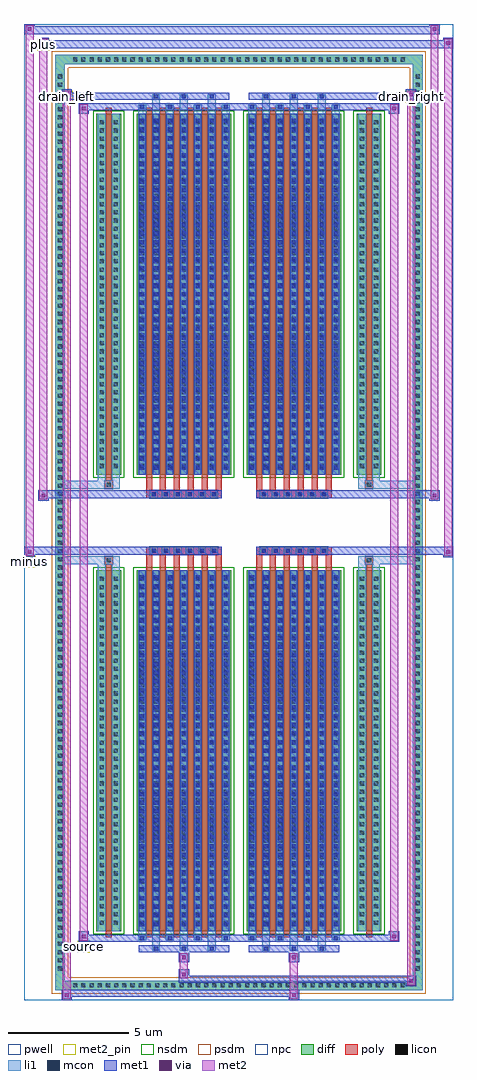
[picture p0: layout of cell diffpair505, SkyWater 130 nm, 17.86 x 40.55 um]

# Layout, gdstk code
import gdstk
lib = gdstk.Library(unit=1e-6, precision=5e-09)
def R(c, l, rs):  # rectangles x0, y0, x1, y1
    for r in rs: c.add(gdstk.rectangle(r[:2], r[2:], *l))
def A(c, l, x, y, w, h, nx, ny, dx, dy):  # array of equal rectangles
    R(c, l, [(x+i*dx, y+j*dy, x+i*dx+w, y+j*dy+h) for i in range(nx) for j in range(ny)])
def P(c, l, *ps):  # polygons
    for p in ps: c.add(gdstk.Polygon(p, *l))
pwell = (64, 44)
diff = (65, 20)
poly = (66, 20)
licon = (66, 44)
li1 = (67, 20)
mcon = (67, 44)
met1 = (68, 20)
via = (68, 44)
met2_pin = (69, 16)
met2 = (69, 20)
nsdm = (93, 44)
psdm = (94, 20)
npc = (95, 20)

diffpair505 = lib.new_cell('diffpair505')
R(diffpair505, pwell, [(-8.91,-19.84,8.91,20.71), (-6.23,-18.03,-0.01,-0.805), (0.01,-18.03,6.23,-0.805), (-6.23,0.805,-0.01,18.03), (0.01,0.805,6.23,18.03)])
A(diffpair505, diff, -7.005, -19.44, 0.41, 0.41, 41, 2, 0.34, 38.47)
A(diffpair505, diff, -7.64, -18.735, 0.41, 0.41, 1, 110, 0, 0.34)
A(diffpair505, diff, 7.23, -18.735, 0.41, 0.41, 1, 110, 0, 0.34)
R(diffpair505, diff, [(-7.005,-19.44,7.005,-19.03), (-7.64,-18.735,-7.23,18.735), (7.23,-18.735,7.64,18.735), (-5.92,-16.985,-4.89,-1.985), (-4.25,-16.985,-0.32,-1.985), (0.32,-16.985,4.25,-1.985), (4.89,-16.985,5.92,-1.985), (-5.92,1.985,-4.89,16.985), (-4.25,1.985,-0.32,16.985), (0.32,1.985,4.25,16.985), (4.89,1.985,5.92,16.985), (-7.005,19.03,7.005,19.44)])
P(diffpair505, diff, [(7.64,19.44),(-7.64,19.44),(-7.64,-19.03),(-7.23,-19.03),(-7.23,19.03),(7.23,19.03),(7.23,-19.03),(-7.23,-19.03),(-7.64,-19.03),(-7.64,-19.44),(7.64,-19.44)])
A(diffpair505, poly, -3.86, -17.235, 0.25, 15.5, 6, 2, 0.58, 18.97)
A(diffpair505, poly, 0.71, -17.235, 0.25, 15.5, 6, 2, 0.58, 18.97)
A(diffpair505, poly, -3.86, -1.735, 0.25, 0.4, 6, 2, 0.58, 3.07)
A(diffpair505, poly, 0.71, -1.735, 0.25, 0.4, 6, 2, 0.58, 3.07)
A(diffpair505, poly, -3.7, -1.335, 0.33, 0.33, 6, 2, 0.5, 2.34)
A(diffpair505, poly, 0.87, -1.335, 0.33, 0.33, 6, 2, 0.5, 2.34)
R(diffpair505, poly, [(-5.53,-17.235,-5.28,-1.735), (5.28,-17.235,5.53,-1.735), (-5.57,-1.735,-5.24,-1.405), (-5.57,-1.735,-5.24,-1.405), (5.24,-1.735,5.57,-1.405), (5.24,-1.735,5.57,-1.405), (-3.86,-1.335,-0.71,-1.005), (0.71,-1.335,3.86,-1.005), (-3.86,1.005,-0.71,1.335), (0.71,1.005,3.86,1.335), (-5.57,1.405,-5.24,1.735), (-5.57,1.405,-5.24,1.735), (5.24,1.405,5.57,1.735), (5.24,1.405,5.57,1.735), (-5.53,1.735,-5.28,17.235), (5.28,1.735,5.53,17.235)])
A(diffpair505, licon, -6.885, -19.32, 0.17, 0.17, 41, 2, 0.34, 38.47)
A(diffpair505, licon, -7.52, -18.615, 0.17, 0.17, 1, 110, 0, 0.34)
A(diffpair505, licon, 7.35, -18.615, 0.17, 0.17, 1, 110, 0, 0.34)
A(diffpair505, licon, -5.78, -16.71, 0.17, 0.17, 1, 43, 0, 0.34)
A(diffpair505, licon, -5.2, -16.71, 0.17, 0.17, 1, 43, 0, 0.34)
A(diffpair505, licon, -4.11, -16.71, 0.17, 0.17, 7, 43, 0.58, 0.34)
A(diffpair505, licon, 0.46, -16.71, 0.17, 0.17, 7, 43, 0.58, 0.34)
A(diffpair505, licon, 5.03, -16.71, 0.17, 0.17, 1, 43, 0, 0.34)
A(diffpair505, licon, 5.61, -16.71, 0.17, 0.17, 1, 43, 0, 0.34)
A(diffpair505, licon, -3.62, -1.255, 0.17, 0.17, 6, 2, 0.5, 2.34)
A(diffpair505, licon, 0.95, -1.255, 0.17, 0.17, 6, 2, 0.5, 2.34)
A(diffpair505, licon, -5.78, 2.26, 0.17, 0.17, 1, 43, 0, 0.34)
A(diffpair505, licon, -5.2, 2.26, 0.17, 0.17, 1, 43, 0, 0.34)
A(diffpair505, licon, -4.11, 2.26, 0.17, 0.17, 7, 43, 0.58, 0.34)
A(diffpair505, licon, 0.46, 2.26, 0.17, 0.17, 7, 43, 0.58, 0.34)
A(diffpair505, licon, 5.03, 2.26, 0.17, 0.17, 1, 43, 0, 0.34)
A(diffpair505, licon, 5.61, 2.26, 0.17, 0.17, 1, 43, 0, 0.34)
R(diffpair505, licon, [(-5.49,-1.655,-5.32,-1.485), (5.32,-1.655,5.49,-1.485), (-5.49,1.485,-5.32,1.655), (5.32,1.485,5.49,1.655)])
A(diffpair505, li1, -6.965, -19.4, 0.33, 0.33, 41, 2, 0.34, 38.47)
A(diffpair505, li1, -7.6, -18.695, 0.33, 0.33, 1, 110, 0, 0.34)
A(diffpair505, li1, 7.27, -18.695, 0.33, 0.33, 1, 110, 0, 0.34)
A(diffpair505, li1, -3.61, -17.79, 0.33, 0.805, 3, 2, 1.16, 34.775)
A(diffpair505, li1, -3.53, -17.79, 0.17, 0.17, 3, 2, 1.16, 35.41)
A(diffpair505, li1, 0.96, -17.79, 0.33, 0.805, 3, 2, 1.16, 34.775)
A(diffpair505, li1, 1.04, -17.79, 0.17, 0.17, 3, 2, 1.16, 35.41)
A(diffpair505, li1, -4.19, -17.36, 0.33, 0.375, 4, 2, 1.16, 34.345)
A(diffpair505, li1, -4.11, -17.36, 0.17, 0.17, 4, 2, 1.16, 34.55)
A(diffpair505, li1, 0.38, -17.36, 0.33, 0.375, 4, 2, 1.16, 34.345)
A(diffpair505, li1, 0.46, -17.36, 0.17, 0.17, 4, 2, 1.16, 34.55)
A(diffpair505, li1, -4.19, -16.985, 0.33, 15, 7, 2, 0.58, 18.97)
A(diffpair505, li1, 0.38, -16.985, 0.33, 15, 7, 2, 0.58, 18.97)
A(diffpair505, li1, -5.86, -16.79, 0.33, 0.33, 1, 43, 0, 0.34)
A(diffpair505, li1, -5.28, -16.79, 0.33, 0.33, 1, 43, 0, 0.34)
A(diffpair505, li1, -4.19, -16.79, 0.33, 0.33, 7, 43, 0.58, 0.34)
A(diffpair505, li1, 0.38, -16.79, 0.33, 0.33, 7, 43, 0.58, 0.34)
A(diffpair505, li1, 4.95, -16.79, 0.33, 0.33, 1, 43, 0, 0.34)
A(diffpair505, li1, 5.53, -16.79, 0.33, 0.33, 1, 43, 0, 0.34)
A(diffpair505, li1, -4.11, -16.77, 0.17, 0.17, 7, 41, 0.58, 0.36)
A(diffpair505, li1, -4.11, -16.77, 0.17, 14.57, 7, 2, 0.58, 18.97)
A(diffpair505, li1, 0.46, -16.77, 0.17, 0.17, 7, 41, 0.58, 0.36)
A(diffpair505, li1, 0.46, -16.77, 0.17, 14.57, 7, 2, 0.58, 18.97)
A(diffpair505, li1, -3.7, -1.335, 0.33, 0.33, 6, 2, 0.5, 2.34)
A(diffpair505, li1, 0.87, -1.335, 0.33, 0.33, 6, 2, 0.5, 2.34)
A(diffpair505, li1, -5.86, 2.18, 0.33, 0.33, 1, 43, 0, 0.34)
A(diffpair505, li1, -5.28, 2.18, 0.33, 0.33, 1, 43, 0, 0.34)
A(diffpair505, li1, -4.19, 2.18, 0.33, 0.33, 7, 43, 0.58, 0.34)
A(diffpair505, li1, 0.38, 2.18, 0.33, 0.33, 7, 43, 0.58, 0.34)
A(diffpair505, li1, 4.95, 2.18, 0.33, 0.33, 1, 43, 0, 0.34)
A(diffpair505, li1, 5.53, 2.18, 0.33, 0.33, 1, 43, 0, 0.34)
A(diffpair505, li1, -4.11, 2.2, 0.17, 0.17, 7, 41, 0.58, 0.36)
A(diffpair505, li1, 0.46, 2.2, 0.17, 0.17, 7, 41, 0.58, 0.36)
R(diffpair505, li1, [(-7.64,-19.44,-7.23,-19.03), (-7.64,-19.44,-7.23,-19.03), (-7.23,-19.44,7.23,-19.03), (7.23,-19.44,7.64,-19.03), (7.23,-19.44,7.64,-19.03), (-7.64,-19.03,-7.23,19.03), (7.23,-19.03,7.64,19.03), (-5.86,-16.985,-5.53,-1.985), (-5.28,-16.985,-4.95,-1.985), (4.95,-16.985,5.28,-1.985), (5.53,-16.985,5.86,-1.985), (-5.86,-1.985,-5.53,-1.405), (-5.28,-1.985,-4.95,-1.405), (4.95,-1.985,5.28,-1.405), (5.53,-1.985,5.86,-1.405), (-7.64,-1.735,-5.57,-1.405), (-5.86,-1.735,-5.57,-1.405), (-5.57,-1.735,-5.24,-1.405), (-5.24,-1.735,-4.95,-1.405), (4.95,-1.735,5.24,-1.405), (5.24,-1.735,5.57,-1.405), (5.24,-1.735,7.64,-1.405), (5.57,-1.735,5.86,-1.405), (-7.64,1.405,-5.57,1.735), (-5.86,1.405,-5.57,1.735), (-5.86,1.405,-5.53,1.985), (-5.57,1.405,-5.24,1.735), (-5.28,1.405,-4.95,1.985), (-5.24,1.405,-4.95,1.735), (4.95,1.405,5.24,1.735), (4.95,1.405,5.28,1.985), (5.24,1.405,5.57,1.735), (5.24,1.405,7.64,1.735), (5.53,1.405,5.86,1.985), (5.57,1.405,5.86,1.735), (-5.86,1.985,-5.53,16.985), (-5.28,1.985,-4.95,16.985), (4.95,1.985,5.28,16.985), (5.53,1.985,5.86,16.985), (-7.64,19.03,-7.23,19.44), (-7.64,19.03,-7.23,19.44), (-7.23,19.03,7.23,19.44), (7.23,19.03,7.64,19.44), (7.23,19.03,7.64,19.44)])
A(diffpair505, mcon, -3.53, -17.79, 0.17, 0.17, 3, 2, 1.16, 35.41)
A(diffpair505, mcon, 1.04, -17.79, 0.17, 0.17, 3, 2, 1.16, 35.41)
A(diffpair505, mcon, -4.11, -17.36, 0.17, 0.17, 4, 2, 1.16, 34.55)
A(diffpair505, mcon, 0.46, -17.36, 0.17, 0.17, 4, 2, 1.16, 34.55)
A(diffpair505, mcon, -4.11, -16.77, 0.17, 0.17, 7, 41, 0.58, 0.36)
A(diffpair505, mcon, 0.46, -16.77, 0.17, 0.17, 7, 41, 0.58, 0.36)
A(diffpair505, mcon, -3.62, -1.255, 0.17, 0.17, 6, 2, 0.5, 2.34)
A(diffpair505, mcon, 0.95, -1.255, 0.17, 0.17, 6, 2, 0.5, 2.34)
A(diffpair505, mcon, -4.11, 2.2, 0.17, 0.17, 7, 41, 0.58, 0.36)
A(diffpair505, mcon, 0.46, 2.2, 0.17, 0.17, 7, 41, 0.58, 0.36)
A(diffpair505, met1, -3.59, -17.85, 0.29, 0.29, 3, 2, 1.16, 35.41)
A(diffpair505, met1, 0.98, -17.85, 0.29, 0.29, 3, 2, 1.16, 35.41)
A(diffpair505, met1, -4.17, -17.42, 0.29, 0.29, 4, 2, 1.16, 34.55)
A(diffpair505, met1, 0.4, -17.42, 0.29, 0.29, 4, 2, 1.16, 34.55)
A(diffpair505, met1, -4.17, -16.985, 0.29, 15, 7, 2, 0.58, 18.97)
A(diffpair505, met1, 0.4, -16.985, 0.29, 15, 7, 2, 0.58, 18.97)
A(diffpair505, met1, -4.17, -16.83, 0.29, 0.29, 7, 41, 0.58, 0.36)
A(diffpair505, met1, 0.4, -16.83, 0.29, 0.29, 7, 41, 0.58, 0.36)
A(diffpair505, met1, -3.68, -1.315, 0.29, 0.29, 6, 2, 0.5, 2.34)
A(diffpair505, met1, 0.89, -1.315, 0.29, 0.29, 6, 2, 0.5, 2.34)
A(diffpair505, met1, -4.17, 2.14, 0.29, 0.29, 7, 41, 0.58, 0.36)
A(diffpair505, met1, 0.4, 2.14, 0.29, 0.29, 7, 41, 0.58, 0.36)
R(diffpair505, met1, [(-7.37,-19.84,-6.94,-19.41), (2.07,-19.84,2.5,-19.41), (-7.37,-19.7,2.5,-19.41), (6.94,-19.27,7.37,-18.84), (-2.5,-19.13,7.37,-18.84), (-2.5,-18.99,-2.07,-18.56), (-2.5,-18.28,-2.07,-17.85), (2.07,-18.28,2.5,-17.85), (-4.17,-17.85,-0.4,-17.56), (0.4,-17.85,4.17,-17.56), (-6.66,-17.42,-6.23,-16.99), (-6.66,-17.42,-4.17,-17.13), (-4.17,-17.42,-0.4,-17.13), (-0.4,-17.42,0.4,-17.13), (0.4,-17.42,4.17,-17.13), (4.17,-17.42,6.66,-17.13), (6.23,-17.42,6.66,-16.99), (-8.91,-1.435,-8.48,-1.005), (8.48,-1.435,8.91,-1.005), (-8.91,-1.335,-0.71,-1.005), (-3.86,-1.335,-0.71,-1.005), (0.71,-1.335,3.86,-1.005), (0.71,-1.335,8.91,-1.005), (-8.34,0.905,-7.91,1.335), (7.91,0.905,8.34,1.335), (-8.34,1.005,-3.86,1.335), (-3.86,1.005,-0.71,1.335), (0.71,1.005,3.86,1.335), (3.86,1.005,8.34,1.335), (-6.66,16.99,-6.23,17.42), (6.23,16.99,6.66,17.42), (-6.66,17.13,-4.17,17.42), (-4.17,17.13,-0.4,17.42), (-0.4,17.13,0.4,17.42), (0.4,17.13,4.17,17.42), (4.17,17.13,6.66,17.42), (-7.37,17.56,-6.94,17.99), (-7.37,17.56,-4.17,17.85), (-4.17,17.56,-0.4,17.85), (0.4,17.56,4.17,17.85), (4.17,17.56,7.37,17.85), (6.94,17.56,7.37,17.99), (-8.34,19.71,-7.91,20.14), (-8.34,19.71,-6.23,20.04), (-6.23,19.71,6.23,20.04), (6.23,19.71,8.91,20.04), (8.48,19.71,8.91,20.14), (-8.91,20.28,-8.48,20.71), (-8.91,20.28,-6.23,20.61), (-6.23,20.28,6.23,20.61), (6.23,20.28,8.34,20.61), (7.91,20.28,8.34,20.71)])
R(diffpair505, via, [(-7.23,-19.7,-7.08,-19.55), (2.21,-19.7,2.36,-19.55), (7.08,-19.13,7.23,-18.98), (-2.36,-18.85,-2.21,-18.7), (-2.36,-18.14,-2.21,-17.99), (2.21,-18.14,2.36,-17.99), (-6.52,-17.28,-6.37,-17.13), (6.37,-17.28,6.52,-17.13), (-8.77,-1.295,-8.62,-1.145), (8.62,-1.295,8.77,-1.145), (-8.2,1.045,-8.05,1.195), (8.05,1.045,8.2,1.195), (-6.52,17.13,-6.37,17.28), (6.37,17.13,6.52,17.28), (-7.23,17.7,-7.08,17.85), (7.08,17.7,7.23,17.85), (-8.2,19.85,-8.05,20), (8.62,19.85,8.77,20), (-8.77,20.42,-8.62,20.57), (8.05,20.42,8.2,20.57)])
R(diffpair505, met2_pin, [(-6.695,-17.87,-6.195,-17.37), (-8.945,-1.885,-8.445,-1.385), (-7.405,17.44,-6.905,17.94), (6.905,17.44,7.405,17.94), (-8.375,19.59,-7.875,20.09)])
R(diffpair505, met2, [(-7.32,-19.79,-6.99,-19.46), (-7.32,-19.79,-6.99,17.94), (2.12,-19.79,2.45,-19.46), (2.12,-19.46,2.45,-18.23), (6.99,-19.22,7.32,-18.89), (6.99,-19.22,7.32,17.94), (-2.45,-18.94,-2.12,-18.61), (-2.45,-18.61,-2.12,-18.23), (-2.45,-18.23,-2.12,-17.9), (2.12,-18.23,2.45,-17.9), (-6.61,-17.37,-6.28,-17.04), (-6.61,-17.37,-6.28,17.37), (6.28,-17.37,6.61,-17.04), (6.28,-17.37,6.61,17.37), (-8.86,-1.385,-8.53,-1.055), (-8.86,-1.385,-8.53,20.66), (8.53,-1.385,8.86,-1.055), (8.53,-1.385,8.86,20.09), (-8.29,0.955,-7.96,1.285), (-8.29,0.955,-7.96,20.09), (7.96,0.955,8.29,1.285), (7.96,0.955,8.29,20.66), (-6.61,17.04,-6.28,17.37), (6.28,17.04,6.61,17.37), (-7.32,17.61,-6.99,17.94), (6.99,17.61,7.32,17.94), (-8.29,19.76,-7.96,20.09), (8.53,19.76,8.86,20.09), (-8.86,20.33,-8.53,20.66), (7.96,20.33,8.29,20.66)])
P(diffpair505, met2, [(8.86,-1.385),(8.86,-1.385),(8.86,-1.055),(8.86,-1.055)],
  [(8.86,19.76),(8.86,19.76),(8.86,20.09),(8.86,20.09)],
  [(-8.53,-1.385),(-8.53,-1.385),(-8.53,-1.055),(-8.53,-1.055)],
  [(-8.53,20.33),(-8.53,20.33),(-8.53,20.66),(-8.53,20.66)],
  [(8.29,0.955),(8.29,0.955),(8.29,1.285),(8.29,1.285)],
  [(8.29,20.33),(8.29,20.33),(8.29,20.66),(8.29,20.66)],
  [(-7.96,0.955),(-7.96,0.955),(-7.96,1.285),(-7.96,1.285)],
  [(-7.96,19.76),(-7.96,19.76),(-7.96,20.09),(-7.96,20.09)],
  [(-6.99,-19.79),(-6.99,-19.79),(-6.99,-19.46),(-6.99,-19.46)],
  [(-6.99,17.61),(-6.99,17.61),(-6.99,17.94),(-6.99,17.94)],
  [(7.32,-19.22),(7.32,-19.22),(7.32,-18.89),(7.32,-18.89)],
  [(7.32,17.61),(7.32,17.61),(7.32,17.94),(7.32,17.94)],
  [(-6.28,-17.37),(-6.28,-17.37),(-6.28,-17.04),(-6.28,-17.04)],
  [(-6.28,17.04),(-6.28,17.04),(-6.28,17.37),(-6.28,17.37)],
  [(6.61,-17.37),(6.61,-17.37),(6.61,-17.04),(6.61,-17.04)],
  [(6.61,17.04),(6.61,17.04),(6.61,17.37),(6.61,17.37)])
R(diffpair505, nsdm, [(-6.05,-17.115,-4.76,-1.855), (-4.38,-17.115,-0.19,-1.855), (0.19,-17.115,4.38,-1.855), (4.76,-17.115,6.05,-1.855), (-6.05,1.855,-4.76,17.115), (-4.38,1.855,-0.19,17.115), (0.19,1.855,4.38,17.115), (4.76,1.855,6.05,17.115)])
P(diffpair505, psdm, [(7.77,19.57),(-7.77,19.57),(-7.77,-18.9),(-7.1,-18.9),(-7.1,18.9),(7.1,18.9),(7.1,-18.9),(-7.1,-18.9),(-7.77,-18.9),(-7.77,-19.57),(7.77,-19.57)])
A(diffpair505, npc, -3.72, -1.355, 0.37, 0.37, 6, 2, 0.5, 2.34)
A(diffpair505, npc, 0.85, -1.355, 0.37, 0.37, 6, 2, 0.5, 2.34)
R(diffpair505, npc, [(-5.59,-1.755,-5.22,-1.385), (5.22,-1.755,5.59,-1.385), (-3.72,-1.355,-2.85,-0.985), (-3.72,-1.355,-2.85,-0.985), (-3.22,-1.355,-2.35,-0.985), (-3.22,-1.355,-2.35,-0.985), (-2.72,-1.355,-1.85,-0.985), (-2.72,-1.355,-1.85,-0.985), (-2.22,-1.355,-1.35,-0.985), (-2.22,-1.355,-1.35,-0.985), (-1.72,-1.355,-0.85,-0.985), (-1.72,-1.355,-0.85,-0.985), (0.85,-1.355,1.72,-0.985), (0.85,-1.355,1.72,-0.985), (1.35,-1.355,2.22,-0.985), (1.35,-1.355,2.22,-0.985), (1.85,-1.355,2.72,-0.985), (1.85,-1.355,2.72,-0.985), (2.35,-1.355,3.22,-0.985), (2.35,-1.355,3.22,-0.985), (2.85,-1.355,3.72,-0.985), (2.85,-1.355,3.72,-0.985), (-3.72,0.985,-2.85,1.355), (-3.72,0.985,-2.85,1.355), (-3.22,0.985,-2.35,1.355), (-3.22,0.985,-2.35,1.355), (-2.72,0.985,-1.85,1.355), (-2.72,0.985,-1.85,1.355), (-2.22,0.985,-1.35,1.355), (-2.22,0.985,-1.35,1.355), (-1.72,0.985,-0.85,1.355), (-1.72,0.985,-0.85,1.355), (0.85,0.985,1.72,1.355), (0.85,0.985,1.72,1.355), (1.35,0.985,2.22,1.355), (1.35,0.985,2.22,1.355), (1.85,0.985,2.72,1.355), (1.85,0.985,2.72,1.355), (2.35,0.985,3.22,1.355), (2.35,0.985,3.22,1.355), (2.85,0.985,3.72,1.355), (2.85,0.985,3.72,1.355), (-5.59,1.385,-5.22,1.755), (5.22,1.385,5.59,1.755)])
diffpair505.add(gdstk.Label('minus', (-8.695,-1.635), layer=69, texttype=5))
diffpair505.add(gdstk.Label('drain_right', (7.155,17.69), layer=69, texttype=5))
diffpair505.add(gdstk.Label('drain_left', (-7.155,17.69), layer=69, texttype=5))
diffpair505.add(gdstk.Label('source', (-6.445,-17.62), layer=69, texttype=5))
diffpair505.add(gdstk.Label('plus', (-8.125,19.84), layer=69, texttype=5))

lib.write_gds('diffpair505.gds')
